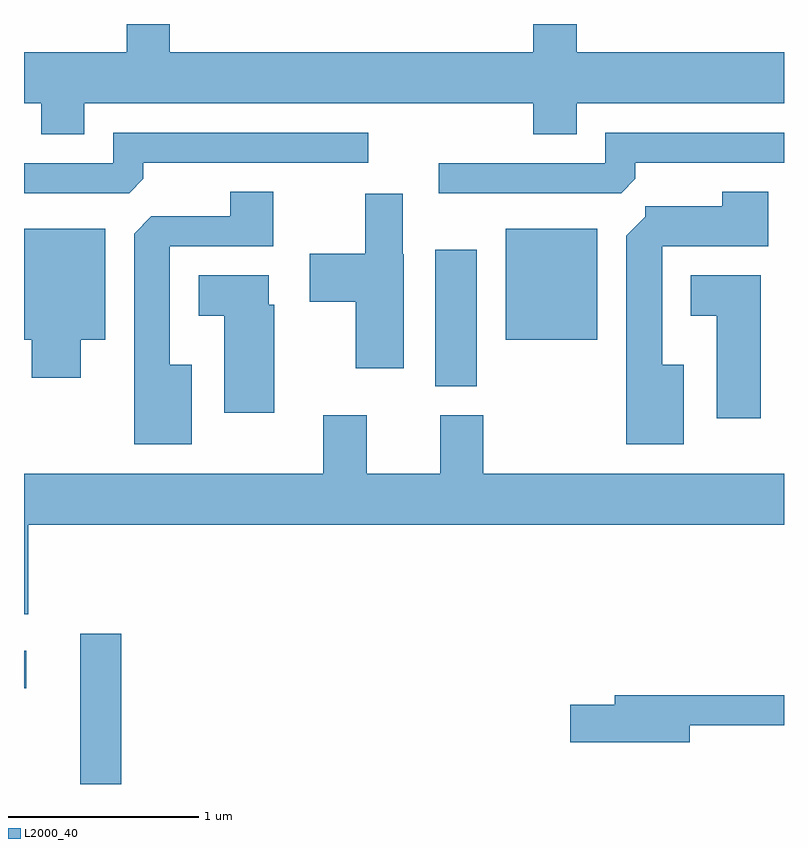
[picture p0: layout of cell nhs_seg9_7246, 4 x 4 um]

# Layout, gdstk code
import gdstk
lib = gdstk.Library(unit=1e-6, precision=1e-09)
def R(c, l, rs):  # rectangles x0, y0, x1, y1
    for r in rs: c.add(gdstk.rectangle(r[:2], r[2:], *l))
def P(c, l, *ps):  # polygons
    for p in ps: c.add(gdstk.Polygon(p, *l))
L2000_40 = (2000, 40)

nhs_seg9_7246 = lib.new_cell('nhs_seg9_7246')
R(nhs_seg9_7246, L2000_40, [(399.906,2010.432,400.124,2011.224), (399.611,2010.936,399.624,2011.134), (401.776,2012.526,401.994,2013.244), (402.146,2012.771,402.629,2013.354)])
P(nhs_seg9_7246, L2000_40, [(399.929,2014.016),(402.291,2014.016),(402.291,2013.851),(402.519,2013.851),(402.519,2014.016),(403.611,2014.016),(403.611,2014.284),(402.519,2014.284),(402.519,2014.432),(402.291,2014.432),(402.291,2014.284),(400.379,2014.284),(400.379,2014.432),(400.151,2014.432),(400.151,2014.284),(399.611,2014.284),(399.611,2014.016),(399.701,2014.016),(399.701,2013.851),(399.929,2013.851)],
  [(402.829,2013.617),(402.829,2013.701),(403.611,2013.701),(403.611,2013.859),(402.671,2013.859),(402.671,2013.699),(401.793,2013.699),(401.793,2013.541),(402.754,2013.541)],
  [(400.239,2013.617),(400.239,2013.701),(401.423,2013.701),(401.423,2013.859),(400.081,2013.859),(400.081,2013.699),(399.611,2013.699),(399.611,2013.541),(400.164,2013.541)],
  [(403.084,2012.639),(402.969,2012.639),(402.969,2013.261),(403.529,2013.261),(403.529,2013.549),(403.286,2013.549),(403.286,2013.474),(402.881,2013.474),(402.881,2013.417),(402.781,2013.317),(402.781,2012.221),(403.084,2012.221)],
  [(400.494,2012.639),(400.379,2012.639),(400.379,2013.261),(400.924,2013.261),(400.924,2013.549),(400.696,2013.549),(400.696,2013.419),(400.282,2013.419),(400.191,2013.329),(400.191,2012.221),(400.494,2012.221)],
  [(401.609,2013.22),(401.604,2013.22),(401.604,2013.539),(401.406,2013.539),(401.406,2013.224),(401.116,2013.224),(401.116,2012.971),(401.356,2012.971),(401.356,2012.621),(401.609,2012.621)],
  [(399.909,2012.771),(400.039,2012.771),(400.039,2013.354),(399.611,2013.354),(399.611,2012.771),(399.651,2012.771),(399.651,2012.571),(399.909,2012.571)],
  [(400.929,2012.954),(400.899,2012.954),(400.899,2013.109),(400.531,2013.109),(400.531,2012.896),(400.666,2012.896),(400.666,2012.386),(400.929,2012.386)],
  [(403.489,2013.109),(403.121,2013.109),(403.121,2012.896),(403.256,2012.896),(403.256,2012.356),(403.489,2012.356)],
  [(399.634,2011.796),(403.611,2011.796),(403.611,2012.064),(402.029,2012.064),(402.029,2012.374),(401.801,2012.374),(401.801,2012.064),(401.414,2012.064),(401.414,2012.374),(401.186,2012.374),(401.186,2012.064),(399.611,2012.064),(399.611,2011.326),(399.634,2011.326)],
  [(403.114,2010.741),(403.611,2010.741),(403.611,2010.899),(402.721,2010.899),(402.721,2010.849),(402.486,2010.849),(402.486,2010.651),(403.114,2010.651)])

lib.write_gds('nhs_seg9_7246.gds')
